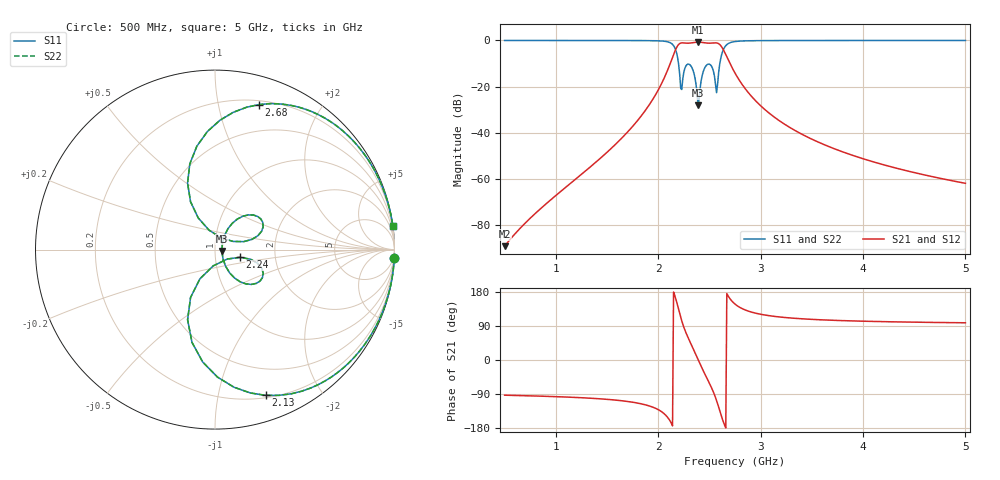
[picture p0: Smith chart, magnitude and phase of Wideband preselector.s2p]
! Illustrative: a 3rd-order 0.5 dB Chebyshev band filter for 2.2 to 2.6 GHz, LC resonators of Q 150
# GHz S MA R 50
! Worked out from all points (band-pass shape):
!   451 points, 500 MHz to 5 GHz, reference 50 ohm
!   highest |S21| = -0.74 dB at 2.39 GHz (marker M1); lowest = -89.1 dB at 500 MHz (marker M2)
!   |S21| within 3 dB of the highest: 2.173 GHz to 2.633 GHz (460.1 MHz wide, 19.1 % of centre)
!   lowest |S11| = -28.1 dB at 2.39 GHz (marker M3), VSWR 1.08, Z = 54 - j0.794 ohm
!   |S11| at or under -10 dB: 2.198 GHz to 2.602 GHz (403.5 MHz wide, 16.8 % of centre)
!   |S22| runs from -28.1 to 0.0 dB; largest |S21 - S12| = 1e-12
!   S11 on the Smith chart (normalised r, x): 500 MHz: 0, -44; 2.13 GHz: 0.22, -1.38; 2.24 GHz: 1.32, -0.12; 2.68 GHz: 0.23, +1.32; 5 GHz: 0, +15
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0.5  0.9999 -2.6  3.501e-05 -92.9  3.501e-05 -92.9  0.9999 -2.6
0.69  0.9999 -3.8  0.0001045 -94.1  0.0001045 -94.1  0.9999 -3.8
1.25  0.9993 -8.7  0.001258 -99.5  0.001258 -99.5  0.9993 -8.7
1.71  0.9967 -18.1  0.01093 -109.8  0.01093 -109.8  0.9967 -18.1
2  0.9812 -37.4  0.08428 -130.9  0.08428 -130.9  0.9812 -37.4
2.13  0.8595 -70.9  0.3747 -167.9  0.3747 -167.9  0.8595 -70.9
2.19  0.4196 -111.3  0.768 143.4  0.768 143.4  0.4196 -111.3
2.22  0.09098 -96.2  0.878 112.5  0.878 112.5  0.09098 -96.2
2.24  0.1467 -17.0  0.8878 94.6  0.8878 94.6  0.1467 -17.0
2.31  0.2968 -39.4  0.8775 48.4  0.8775 48.4  0.2968 -39.4
2.39  0.03928 -10.8  0.9188 1.0  0.9188 1.0  0.03928 -10.8
2.47  0.2878 42.0  0.8803 -45.0  0.8803 -45.0  0.2878 42.0
2.52  0.279 21.5  0.8755 -72.8  0.8755 -72.8  0.279 21.5
2.55  0.1658 15.5  0.8871 -92.0  0.8871 -92.0  0.1658 15.5
2.58  0.1129 106.9  0.8732 -115.4  0.8732 -115.4  0.1129 106.9
2.61  0.4009 112.4  0.7772 -141.7  0.7772 -141.7  0.4009 112.4
2.68  0.8448 73.1  0.3974 170.3  0.3974 170.3  0.8448 73.1
2.75  0.9474 52.5  0.1966 147.5  0.1966 147.5  0.9474 52.5
3.05  0.9927 25.8  0.03072 118.3  0.03072 118.3  0.9927 25.8
3.5  0.9975 15.7  0.007285 107.2  0.007285 107.2  0.9975 15.7
4.25  0.999 10.0  0.001895 100.9  0.001895 100.9  0.999 10.0
5  0.9995 7.5  0.0008049 98.2  0.0008049 98.2  0.9995 7.5
